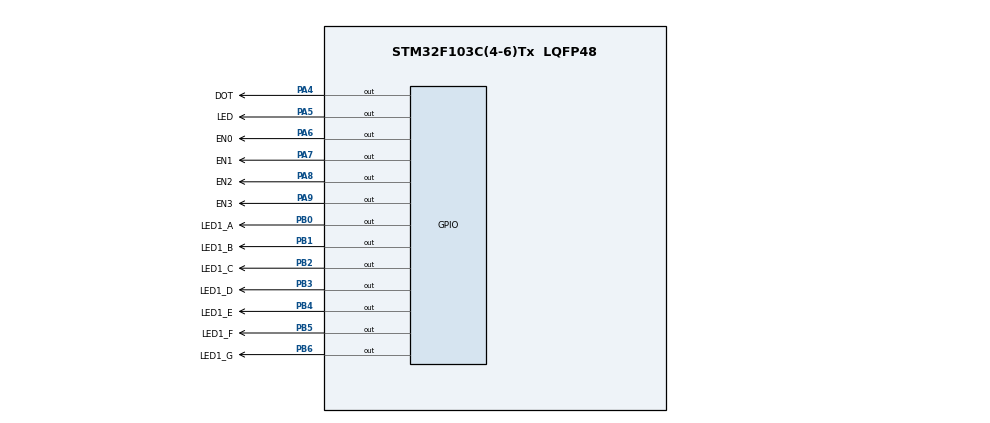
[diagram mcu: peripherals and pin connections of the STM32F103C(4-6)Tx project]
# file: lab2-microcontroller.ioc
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Mcu.Family=STM32F1
Mcu.Name=STM32F103C(4-6)Tx
Mcu.Package=LQFP48
NVIC.PriorityGroup=NVIC_PRIORITYGROUP_4
NVIC.TIM2_IRQn=true\:0\:0\:false\:false\:true\:true\:true
PA4.GPIO_Label=DOT
PA4.Signal=GPIO_Output
PA5.GPIO_Label=LED
PA5.Signal=GPIO_Output
PA6.GPIO_Label=EN0
PA6.Signal=GPIO_Output
PA7.GPIO_Label=EN1
PA7.Signal=GPIO_Output
PA8.GPIO_Label=EN2
PA8.Signal=GPIO_Output
PA9.GPIO_Label=EN3
PA9.Signal=GPIO_Output
PB0.GPIO_Label=LED1_A
PB0.Signal=GPIO_Output
PB1.GPIO_Label=LED1_B
PB1.Signal=GPIO_Output
PB2.GPIO_Label=LED1_C
PB2.Signal=GPIO_Output
PB3.GPIO_Label=LED1_D
PB3.Signal=GPIO_Output
PB4.GPIO_Label=LED1_E
PB4.Signal=GPIO_Output
PB5.GPIO_Label=LED1_F
PB5.Signal=GPIO_Output
PB6.GPIO_Label=LED1_G
PB6.Signal=GPIO_Output
ProjectManager.HeapSize=0x200
ProjectManager.StackSize=0x400
ProjectManager.TargetToolchain=STM32CubeIDE
RCC.APB1Freq_Value=8000000
RCC.APB2Freq_Value=8000000
TIM2.Period=9
TIM2.Prescaler=7999
VP_SYS_VS_ND.Mode=No_Debug
VP_TIM2_VS_ClockSourceINT.Mode=Internal
board=custom

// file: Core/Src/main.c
/* USER CODE BEGIN Header */
/**
  ******************************************************************************
  * @file           : main.c
  * @brief          : Main program body
  ******************************************************************************
  * @attention
  *
  * <h2><center>&copy; Copyright (c) 2021 STMicroelectronics.
  * All rights reserved.</center></h2>
  *
  * This software component is licensed by ST under BSD 3-Clause license,
  * the "License"; You may not use this file except in compliance with the
  * License. You may obtain a copy of the License at:
  *                        opensource.org/licenses/BSD-3-Clause
  *
  ******************************************************************************
  */
/* USER CODE END Header */
#include "main.h"

/* USER CODE BEGIN Includes */
#include "func.h"
/* USER CODE END Includes */

TIM_HandleTypeDef htim2;

void SystemClock_Config(void);
static void MX_GPIO_Init(void);
static void MX_TIM2_Init(void);

/* USER CODE BEGIN 0 */

int timer0_counter = 0;
int timer1_counter = 0;
int timer1_flag = 0;
int timer0_flag = 1;
int TIMER_CYCLE = 10;
int index_led = 0;
int hour = 15, minute = 8 , second = 50;

void update7SEG ( int, int);

void setTimer0 ( int duration ) {
 timer0_counter = duration / TIMER_CYCLE ;
 timer0_flag = 0;
}

void setTimer1 ( int duration ) {
 timer1_counter = duration / TIMER_CYCLE ;
 timer1_flag = 0;
}

void timer_run () {
	if( timer0_counter > 0)
		if( --timer0_counter == 0)
			timer0_flag = 1;

	if( timer1_counter > 0)
			if( --timer1_counter == 0)
				timer1_flag = 1;
}

void HAL_TIM_PeriodElapsedCallback ( TIM_HandleTypeDef * htim ){
	timer_run();
}

void updateClockBuffer() {
	while(index_led != 3) {
		if(timer0_flag == 1) {
			if(index_led == 0) {
				update7SEG(0, hour/10);
				index_led = 1;
			}
			else if(index_led == 1) {
				update7SEG(1, hour % 10);
				index_led = 2;
			}
			else {
				update7SEG(2, minute / 10);
				index_led = 3;
			}
			setTimer0(60);
		}
	}
	while(index_led != 0) {
		if(timer0_flag == 1) {
			update7SEG(3, minute % 10);
			index_led = 0;
			setTimer0(60);
		}
	}
}

/* USER CODE END 0 */

int main(void)
{

  /* MCU Configuration--------------------------------------------------------*/

  /* Reset of all peripherals, Initializes the Flash interface and the Systick. */
  HAL_Init();

  /* Configure the system clock */
  SystemClock_Config();

  /* Initialize all configured peripherals */
  MX_GPIO_Init();
  MX_TIM2_Init();
  /* USER CODE BEGIN 2 */
  setTimer1(1000);
  HAL_TIM_Base_Start_IT(&htim2);

  HAL_GPIO_WritePin(DOT_GPIO_Port, DOT_Pin, 1);
  HAL_GPIO_WritePin(EN0_GPIO_Port, EN0_Pin, 1);
  HAL_GPIO_WritePin(EN1_GPIO_Port, EN1_Pin, 1);
  HAL_GPIO_WritePin(EN2_GPIO_Port, EN2_Pin, 1);
  HAL_GPIO_WritePin(EN3_GPIO_Port, EN3_Pin, 1);

  /* USER CODE END 2 */

  /* Infinite loop */
  while (1)
  {
	  	  if(timer1_flag == 1) {
	  		  HAL_GPIO_TogglePin(DOT_GPIO_Port, DOT_Pin);
	  		  setTimer1(1000);
	  	  }
	  	  second++;
	 	  if ( second >= 60) {
	 		  second = 0;
	 		  minute++;
	 	  }
	 	  if( minute >= 60) {
	 		  minute = 0;
	 		  hour++;
	 	  }
	 	  if( hour >=24) {
	 		  hour = 0;
	 	  }
	 	  updateClockBuffer();
  }
}

void SystemClock_Config(void)
{
  RCC_OscInitTypeDef RCC_OscInitStruct = {0};
  RCC_ClkInitTypeDef RCC_ClkInitStruct = {0};

  /** Initializes the RCC Oscillators according to the specified parameters
  * in the RCC_OscInitTypeDef structure.
  */
  RCC_OscInitStruct.OscillatorType = RCC_OSCILLATORTYPE_HSI;
  RCC_OscInitStruct.HSIState = RCC_HSI_ON;
  RCC_OscInitStruct.HSICalibrationValue = RCC_HSICALIBRATION_DEFAULT;
  RCC_OscInitStruct.PLL.PLLState = RCC_PLL_NONE;
  if (HAL_RCC_OscConfig(&RCC_OscInitStruct) != HAL_OK)
  {
    Error_Handler();
  }
  /** Initializes the CPU, AHB and APB buses clocks
  */
  RCC_ClkInitStruct.ClockType = RCC_CLOCKTYPE_HCLK|RCC_CLOCKTYPE_SYSCLK
                              |RCC_CLOCKTYPE_PCLK1|RCC_CLOCKTYPE_PCLK2;
  RCC_ClkInitStruct.SYSCLKSource = RCC_SYSCLKSOURCE_HSI;
  RCC_ClkInitStruct.AHBCLKDivider = RCC_SYSCLK_DIV1;
  RCC_ClkInitStruct.APB1CLKDivider = RCC_HCLK_DIV1;
  RCC_ClkInitStruct.APB2CLKDivider = RCC_HCLK_DIV1;

  if (HAL_RCC_ClockConfig(&RCC_ClkInitStruct, FLASH_LATENCY_0) != HAL_OK)
  {
    Error_Handler();
  }
}

static void MX_TIM2_Init(void)
{

  TIM_ClockConfigTypeDef sClockSourceConfig = {0};
  TIM_MasterConfigTypeDef sMasterConfig = {0};

  htim2.Instance = TIM2;
  htim2.Init.Prescaler = 7999;
  htim2.Init.CounterMode = TIM_COUNTERMODE_UP;
  htim2.Init.Period = 9;
  htim2.Init.ClockDivision = TIM_CLOCKDIVISION_DIV1;
  htim2.Init.AutoReloadPreload = TIM_AUTORELOAD_PRELOAD_DISABLE;
  if (HAL_TIM_Base_Init(&htim2) != HAL_OK)
  {
    Error_Handler();
  }
  sClockSourceConfig.ClockSource = TIM_CLOCKSOURCE_INTERNAL;
  if (HAL_TIM_ConfigClockSource(&htim2, &sClockSourceConfig) != HAL_OK)
  {
    Error_Handler();
  }
  sMasterConfig.MasterOutputTrigger = TIM_TRGO_RESET;
  sMasterConfig.MasterSlaveMode = TIM_MASTERSLAVEMODE_DISABLE;
  if (HAL_TIMEx_MasterConfigSynchronization(&htim2, &sMasterConfig) != HAL_OK)
  {
    Error_Handler();
  }

}

static void MX_GPIO_Init(void)
{
  GPIO_InitTypeDef GPIO_InitStruct = {0};

  /* GPIO Ports Clock Enable */
  __HAL_RCC_GPIOA_CLK_ENABLE();
  __HAL_RCC_GPIOB_CLK_ENABLE();

  /*Configure GPIO pin Output Level */
  HAL_GPIO_WritePin(GPIOA, DOT_Pin|LED_Pin|EN0_Pin|EN1_Pin
                          |EN2_Pin|EN3_Pin, GPIO_PIN_RESET);

  /*Configure GPIO pin Output Level */
  HAL_GPIO_WritePin(GPIOB, LED1_A_Pin|LED1_B_Pin|LED1_C_Pin|LED1_D_Pin
                          |LED1_E_Pin|LED1_F_Pin|LED1_G_Pin, GPIO_PIN_RESET);

  /*Configure GPIO pins : DOT_Pin LED_Pin EN0_Pin EN1_Pin
                           EN2_Pin EN3_Pin */
  GPIO_InitStruct.Pin = DOT_Pin|LED_Pin|EN0_Pin|EN1_Pin
                          |EN2_Pin|EN3_Pin;
  GPIO_InitStruct.Mode = GPIO_MODE_OUTPUT_PP;
  GPIO_InitStruct.Pull = GPIO_NOPULL;
  GPIO_InitStruct.Speed = GPIO_SPEED_FREQ_LOW;
  HAL_GPIO_Init(GPIOA, &GPIO_InitStruct);

  /*Configure GPIO pins : LED1_A_Pin LED1_B_Pin LED1_C_Pin LED1_D_Pin
                           LED1_E_Pin LED1_F_Pin LED1_G_Pin */
  GPIO_InitStruct.Pin = LED1_A_Pin|LED1_B_Pin|LED1_C_Pin|LED1_D_Pin
                          |LED1_E_Pin|LED1_F_Pin|LED1_G_Pin;
  GPIO_InitStruct.Mode = GPIO_MODE_OUTPUT_PP;
  GPIO_InitStruct.Pull = GPIO_NOPULL;
  GPIO_InitStruct.Speed = GPIO_SPEED_FREQ_LOW;
  HAL_GPIO_Init(GPIOB, &GPIO_InitStruct);

}

void Error_Handler(void)
{
  __disable_irq();
  while (1)
  {
  }
}

/************************ (C) COPYRIGHT STMicroelectronics *****END OF FILE****/
